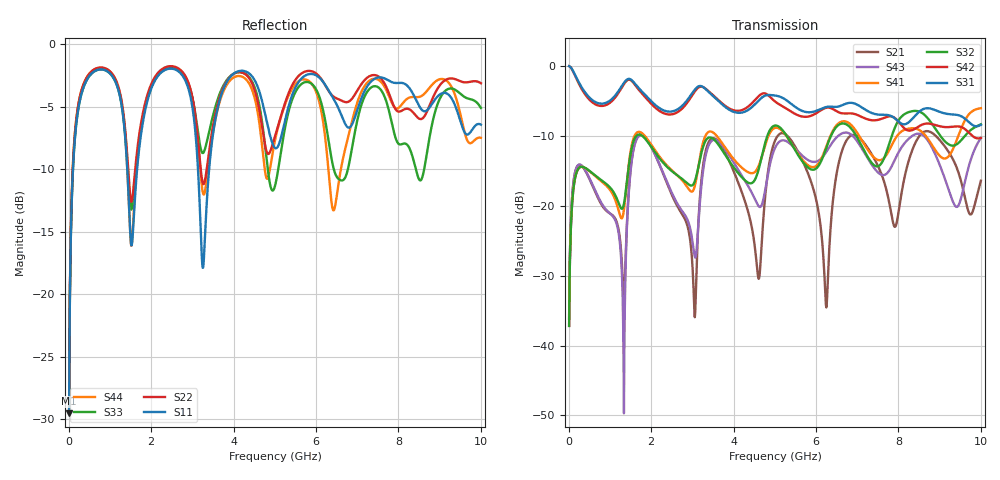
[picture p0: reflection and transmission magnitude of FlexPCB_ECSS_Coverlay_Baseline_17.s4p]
! TOUCHSTONE file generated by CST MICROWAVE STUDIO
! Date and time: Sun Jul  5 19:09:41 2026
! Project name: FlexPCB_ECSS_Coverlay_Baseline.cst
! Parameters = {Gap=0.8; GroundW=6.6; Hadh=0.025; Hcov=0.025; Hsub=0.1; L=50; Tcu=0.035; W=0.18}
! Header version: 2024
! Port assignment regex: !\s*Touchstone port\s*([0-9]+)\s*=\s*(CST MWS port|CST DES external port|CST DES block port)\s*(.+)\s* \(\"(.*)\"\)(\s*mode\s*([0-9]+))?.*
! Touchstone port assignment:
! Touchstone port 1 = CST MWS port 1 ("")
! Touchstone port 2 = CST MWS port 2 ("")
! Touchstone port 3 = CST MWS port 3 ("")
! Touchstone port 4 = CST MWS port 4 ("")
# GHz S MA R 50
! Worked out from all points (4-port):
!   1002 points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, 10 MHz to 10 GHz, reference 50 ohm
!   strongest paths, dB at 10 MHz, 2.51 GHz, 5.01 GHz, 7.503 GHz, 10 GHz:
!     S31: 0.0, -6.5, -4.2, -6.9, -8.4
!     S42: 0.0, -6.9, -5.1, -7.7, -10.3
!     S32: -37.2, -15.1, -8.5, -14.3, -8.3
!     S41: -37.2, -15.0, -8.8, -13.4, -6.0
!     S43: -36.1, -18.2, -11.7, -15.2, -10.3
!     S21: -36.1, -18.5, -10.6, -14.3, -16.4
!   lowest |S11| = -29.5 dB at 10 MHz (marker M1), VSWR 1.07, Z = 49.8 - j3.33 ohm
!   |S11| at or under -10 dB: start of sweep to 103.3 MHz; 1.421 GHz to 1.659 GHz (238.4 MHz wide, 15.5 % of centre); 3.137 GHz to 3.407 GHz (269.7 MHz wide, 8.24 % of centre)
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0.01  0.03338 -90.9  0.0156 85.5  0.998 -2.4  0.01382 85.6
      0.0156 85.5  0.03523 -91.0  0.01382 85.7  0.998 -2.5
      0.998 -2.4  0.01382 85.7  0.03338 -90.9  0.01559 85.5
      0.01382 85.6  0.998 -2.5  0.01559 85.5  0.03522 -91.1
0.43  0.7156 -156.3  0.1723 -12.8  0.6293 -62.9  0.1838 -36.4
      0.1723 -12.8  0.7332 -156.2  0.1844 -35.8  0.609 -63.8
      0.6293 -62.9  0.1844 -35.8  0.7149 -156.0  0.1739 -14.1
      0.1838 -36.4  0.609 -63.8  0.1739 -14.1  0.7317 -157.6
1.33  0.4995 138.6  0.02146 22.1  0.7509 -139.5  0.08932 -83.4
      0.02146 22.1  0.5262 147.0  0.1001 -91.9  0.7356 -139.0
      0.7509 -139.5  0.1001 -91.9  0.5078 144.0  0.007916 -22.5
      0.08932 -83.4  0.7356 -139.0  0.007916 -22.5  0.5091 137.7
1.51  0.1605 163.1  0.1926 77.5  0.8003 -171.9  0.2544 -94.8
      0.1926 77.5  0.2358 171.6  0.2431 -99.6  0.7905 -172.2
      0.8003 -171.9  0.2431 -99.6  0.2195 169.4  0.1883 80.6
      0.2544 -94.8  0.7905 -172.2  0.1883 80.6  0.1584 164.9
3.22  0.1529 145.3  0.1536 74.2  0.7177 6.9  0.2533 77.5
      0.1536 74.2  0.2986 158.7  0.2394 70.1  0.7123 9.2
      0.7177 6.9  0.2394 70.1  0.3733 162.5  0.1404 49.1
      0.2533 77.5  0.7123 9.2  0.1404 49.1  0.2808 149.7
4.93  0.4071 167.7  0.2493 38.9  0.6191 -176.5  0.3483 -121.7
      0.2493 38.9  0.3893 -172.2  0.3645 -116.6  0.5838 171.7
      0.6191 -176.5  0.3645 -116.6  0.2609 159.1  0.2248 54.9
      0.3483 -121.7  0.5838 171.7  0.2248 54.9  0.3535 -172.6
10  0.4768 159.8  0.1513 36.9  0.38 1.9  0.4993 60.3
    0.1513 36.9  0.6982 165.3  0.3826 55.6  0.3062 -7.0
    0.38 1.9  0.3826 55.6  0.5561 156.5  0.3057 43.9
    0.4993 60.3  0.3062 -7.0  0.3057 43.9  0.4222 161.2
